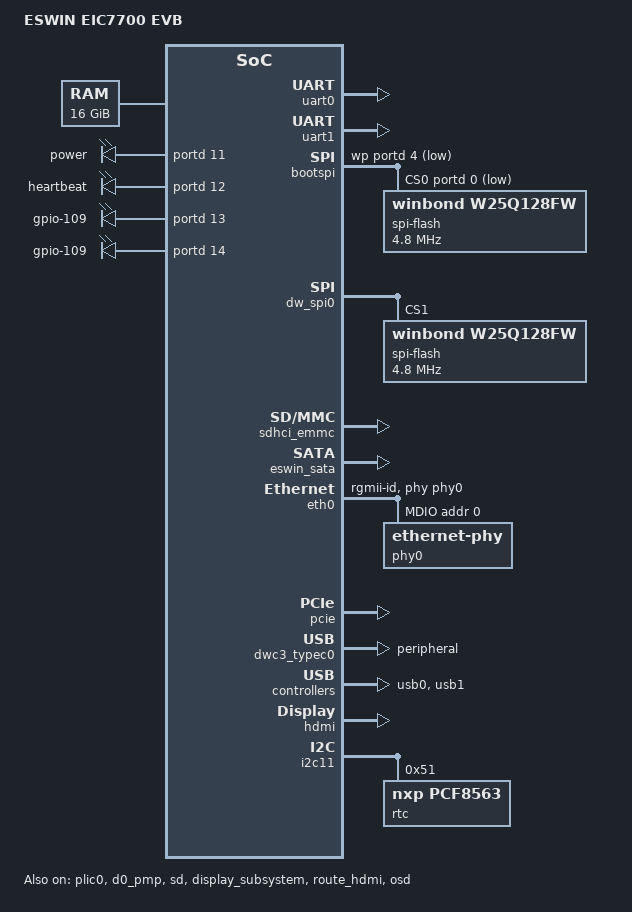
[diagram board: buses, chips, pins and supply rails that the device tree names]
// SPDX-License-Identifier: GPL-2.0
/*
 * Device Tree file for Eswin EIC7700 SoC.
 *
 * Copyright 2024, Beijing ESWIN Computing Technology Co., Ltd.. All rights reserved.
 * SPDX-License-Identifier: GPL-2.0
 *
 * This program is free software: you can redistribute it and/or modify
 * it under the terms of the GNU General Public License as published by
 * the Free Software Foundation, version 2.
 *
 * This program is distributed in the hope that it will be useful,
 * but WITHOUT ANY WARRANTY; without even the implied warranty of
 * MERCHANTABILITY or FITNESS FOR A PARTICULAR PURPOSE.  See the
 * GNU General Public License for more details.
 *
 * You should have received a copy of the GNU General Public License
 * along with this program.  If not, see <https://www.gnu.org/licenses/>.
 */

#include <dt-bindings/gpio/gpio.h>
#include <dt-bindings/soc/eswin-pmp.h>
#include "eic770x.dtsi"
#include "dt-bindings/media/eswin_mipi_dsi.h"
#include "media_bus_format.h"
/ {
	#address-cells = <2>;
	#size-cells = <2>;
	model = "ESWIN EIC7700 EVB";


	aliases {
		serial0 = &uart0;
		i2c0 = &i2c0;
		i2c1 = &i2c1;
		i2c2 = &i2c2;
		i2c3 = &i2c3;
		i2c4 = &i2c4;
		i2c5 = &i2c5;
		i2c6 = &i2c6;
		i2c7 = &i2c7;
		i2c8 = &i2c8;
		i2c9 = &i2c9;
		i2c11 = &i2c11;
		i2c12 = &i2c12;
		gpio0 = &gpio0;
		spi0 = &bootspi;
		spi1 = &dw_spi0;
	};

	chosen {
		stdout-path = "serial0";
	};

	memory@80000000 {
		device_type = "memory";
		reg = <0x0 0x80000000 0x4 0x00000000>;
	};
	reserved-memory {
		#address-cells = <2>;
		#size-cells = <2>;
		ranges;

		display_reserved: region@E0000000 {
			reg = <0x0 0xE0000000 0x0 0x1000000>;
			no-map;
		};
	};
	soc {
		#address-cells = <2>;
		#size-cells = <2>;
		compatible = "SiFive,FU800-soc", "fu800-soc", "sifive-soc", "simple-bus";
		ranges;
	};
	leds {
		compatible = "gpio-leds";
		pinctrl-names = "default";
		pinctrl-0 = <&pinctrl_gpio6_default &pinctrl_gpio107_default &pinctrl_gpio108_default &pinctrl_gpio109_default>;

		gpio-107 {
			gpios = <&portd 11 GPIO_ACTIVE_HIGH>;
			label = "power";
			linux,default-trigger = "default-on";
		};

		gpio-108 {
			gpios = <&portd 12 GPIO_ACTIVE_HIGH>;
			label = "heartbeat";
			linux,default-trigger = "heartbeat";
		};

		gpio-109 {
			gpios = <&portd 13 GPIO_ACTIVE_HIGH>;
			label = "gpio-109";
			linux,default-trigger = "default-off";
		};

		gpio-110 {
			gpios = <&portd 14 GPIO_ACTIVE_HIGH>;
			label = "gpio-109";
			linux,default-trigger = "default-off";
		};
	};

};
&cpu0 {
	status = "okay";
};
&cpu1 {
	status = "okay";
};
&cpu2 {
	status = "okay";
};
&cpu3 {
	status = "okay";
};
&plic0{
	status = "okay";
};
&d0_mbox {
	status = "okay";
};
&d0_mbox_srvc {
	status = "okay";
};
&d0_pmp {
	status = "okay";
};
&uart0 {
	status = "okay";
};
&uart1 {
	status = "okay";
};
&bootspi {
	status = "okay";
	cs-gpios = <&portd 0 GPIO_ACTIVE_LOW>;
	wp-gpios = <&portd 4 GPIO_ACTIVE_LOW>;
	spi-flash@0 {
		reg = <0>;
		compatible = "winbond,w25q128fw",
			"jedec,spi-nor";
		spi-max-frequency = <4800000>;
	};
};
&dw_spi0 {
	status = "okay";
	spi-flash@1 {
		reg = <1>;
		compatible = "winbond,w25q128fw",
			"jedec,spi-nor";
		spi-max-frequency = <4800000>;
	};
};
&sd {
	status = "okay";
	delay_code = <0x34>;
	drive-impedance-ohm = <33>;
	enable-cmd-pullup;
	enable-data-pullup;
};

&sdhci_emmc {
	status = "okay";
	delay_code = <0x17>;
	drive-impedance-ohm = <50>;
	enable-cmd-pullup;
	enable-data-pullup;
};

&eswin_sata {
	status = "okay";
};

&eth0 {
	status = "okay";
	phy-mode = "rgmii-id";
	max-speed = <1000>;
	phy-handle = <&phy0>;
	pinctrl-names = "default";
	pinctrl-0 = <&pinctrl_gpio94_default>;
	rst-gpios = <&portc 30 GPIO_ACTIVE_LOW>;

	mdio0 {
		#address-cells = <1>;
		#size-cells = <0>;
		phy0: ethernet-phy@1 {
			reg = <0>;
		};
	};
};

&eth1 {
	status = "disabled";
	phy-mode = "rgmii-id";
	max-speed = <1000>;
	phy-handle = <&phy1>;
	pinctrl-names = "default";
	pinctrl-0 = <&pinctrl_gpio16_default>;
	rst-gpios = <&porta 16 GPIO_ACTIVE_LOW>;

	mdio1 {
		#address-cells = <1>;
		#size-cells = <0>;
		phy1: ethernet-phy@1 {
			reg = <0>;
		};
	};
};

&pcie {
	status = "okay";
};
&display_logo {
	status = "disabled";
};
&mipi_dsi {
	status = "disabled";
	panel {
		#address-cells = <1>;
		#size-cells = <0>;
		compatible = "simple-panel-dsi";
		reg = <0>;
		dsi,format = <MIPI_DSI_FMT_RGB888>;
		bus-format = <MEDIA_BUS_FMT_RGB888_1X24>;
		dsi,lanes = <4>;
		status = "disabled";
		pinctrl-names = "default";
		pinctrl-0 = <&pinctrl_gpio5_default &pinctrl_gpio111_default>;
		backlight-gpios = <&porta 5 GPIO_ACTIVE_LOW>;
		rst-gpios = <&portd 15 GPIO_ACTIVE_LOW>;
		display-timings {
			native-mode = <&timing0>;
			timing0: timing0 {
				/*The fpga platform does not need to set the clock*/
				clock-frequency = <148500000>;
				hactive = <1080>;
				vactive = <1920>;
				hsync-len = <60>;
				hback-porch = <60>;
				hfront-porch = <60>;
				vsync-len = <8>;
				vback-porch = <8>;
				vfront-porch = <8>;
				hsync-active = <0>;
				vsync-active = <0>;
				pixelclk-active = <1>;
			};
		};
	};
};
&dwc3_typec0 {
		status = "okay";
		dr_mode = "peripheral";
		maximum-speed = "high-speed";
};
&usb0 {
	status = "okay";
};
&usb1 {
	status = "okay";
};
&hdmi {
	status = "okay";
};
&display_subsystem {
	status = "okay";
};
&route_hdmi {
	status = "okay";
};
&route_mipi {
	status = "disabled";
};
&osd {
	status = "okay";
};
&i2c0 {
	status = "disabled";
};
&i2c2 {
	status = "disabled";
};
&i2c3 {
	status = "disabled";
};
&i2c11 {
	status = "okay";
	rtc@51 {
		compatible = "nxp,pcf8563";
		reg = <0x51>;
	};
};

/*
	gpio function unused
	group A: gpio1~6,12~15, 17~27, 29~31
	group B: gpio32~63
	group C: gpio64~93, 95
	group D: gpio96~105

	gpio0   : pcie prstn(I)
	gpio5   : led back light power on/off(O)
	gpio6   : system key(I)
	gpio10  : dsi touch interrupt(I)
	gpio11  : head phone plug/unplug detection2(I)
	gpio12  : tf card power on/off(O)
	gpio14  : bt wake host(I)
	gpio15  : wlan wake host(I)
	gpio16  : gphy1 resetn(O)
	gpio28  : head phone plug/unplug detection1(I)
	gpio34  : m.2 power on/off(O)
	gpio94  : gphy0 resetn(O)
	gpio106 : touch reset(O)
	gpio107 : system led0(O)
	gpio108 : system led1(O)
	gpio109 : system led2(O)
	gpio110 : system led3(O)
	gpio111 : mipi dsi resetn(O)
*/

&gpio0 {
	status = "okay";
};
